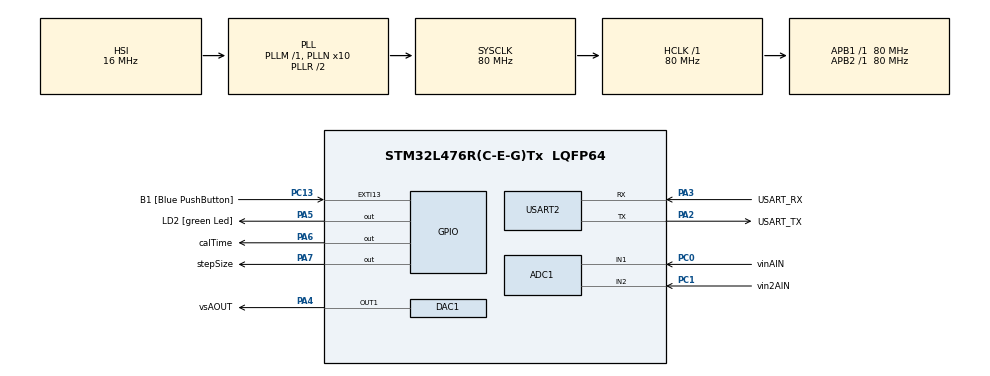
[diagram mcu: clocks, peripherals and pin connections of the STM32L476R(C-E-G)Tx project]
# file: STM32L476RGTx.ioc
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ADC1.Channel-0\#ChannelRegularConversion=ADC_CHANNEL_1
ADC1.NbrOfConversionFlag=1
ADC1.OffsetNumber-0\#ChannelRegularConversion=ADC_OFFSET_NONE
ADC1.Rank-0\#ChannelRegularConversion=1
ADC1.SamplingTime-0\#ChannelRegularConversion=ADC_SAMPLETIME_2CYCLES_5
ADC1.master=1
Mcu.Family=STM32L4
Mcu.Name=STM32L476R(C-E-G)Tx
Mcu.Package=LQFP64
NVIC.EXTI15_10_IRQn=true\:0\:0\:false\:false\:true\:true\:true\:true
NVIC.PriorityGroup=NVIC_PRIORITYGROUP_4
NVIC.TIM1_UP_TIM16_IRQn=true\:0\:0\:false\:false\:true\:true\:true\:true
PA13\ (JTMS-SWDIO).GPIO_Label=TMS
PA13\ (JTMS-SWDIO).Mode=Serial_Wire
PA13\ (JTMS-SWDIO).Signal=SYS_JTMS-SWDIO
PA14\ (JTCK-SWCLK).GPIO_Label=TCK
PA14\ (JTCK-SWCLK).Mode=Serial_Wire
PA14\ (JTCK-SWCLK).Signal=SYS_JTCK-SWCLK
PA2.GPIO_Label=USART_TX
PA2.GPIO_Mode=GPIO_MODE_AF_PP
PA2.GPIO_PuPd=GPIO_NOPULL
PA2.GPIO_Speed=GPIO_SPEED_FREQ_VERY_HIGH
PA2.Mode=Asynchronous
PA2.Signal=USART2_TX
PA3.GPIO_Label=USART_RX
PA3.GPIO_Mode=GPIO_MODE_AF_PP
PA3.GPIO_PuPd=GPIO_NOPULL
PA3.GPIO_Speed=GPIO_SPEED_FREQ_VERY_HIGH
PA3.Mode=Asynchronous
PA3.Signal=USART2_RX
PA4.GPIO_Label=vsAOUT
PA4.Signal=COMP_DAC11_group
PA5.GPIO_Label=LD2 [green Led]
PA5.GPIO_ModeDefaultOutputPP=GPIO_MODE_OUTPUT_PP
PA5.GPIO_PuPd=GPIO_NOPULL
PA5.GPIO_Speed=GPIO_SPEED_FREQ_LOW
PA5.Signal=GPIO_Output
PA6.GPIO_Label=calTime
PA6.Signal=GPIO_Output
PA7.GPIO_Label=stepSize
PA7.Signal=GPIO_Output
PB3\ (JTDO-TRACESWO).GPIO_Label=SWO
PB3\ (JTDO-TRACESWO).Signal=SYS_JTDO-SWO
PC0.GPIO_Label=vinAIN
PC0.Signal=ADCx_IN1
PC1.GPIO_Label=vin2AIN
PC1.Signal=ADCx_IN2
PC13.GPIO_Label=B1 [Blue PushButton]
PC13.GPIO_ModeDefaultEXTI=GPIO_MODE_IT_FALLING
PC13.GPIO_PuPd=GPIO_NOPULL
PC13.Signal=GPXTI13
PC14-OSC32_IN\ (PC14).Mode=LSE-External-Oscillator
PC14-OSC32_IN\ (PC14).Signal=RCC_OSC32_IN
PC15-OSC32_OUT\ (PC15).Mode=LSE-External-Oscillator
PC15-OSC32_OUT\ (PC15).Signal=RCC_OSC32_OUT
PH0-OSC_IN\ (PH0).Signal=RCC_OSC_IN
PH1-OSC_OUT\ (PH1).Signal=RCC_OSC_OUT
ProjectManager.HeapSize=0x200
ProjectManager.StackSize=0x400
ProjectManager.TargetToolchain=STM32CubeIDE
RCC.ADCFreq_Value=64000000
RCC.AHBFreq_Value=80000000
RCC.APB1Freq_Value=80000000
RCC.APB1TimFreq_Value=80000000
RCC.APB2Freq_Value=80000000
RCC.APB2TimFreq_Value=80000000
RCC.CortexFreq_Value=80000000
RCC.HCLKFreq_Value=80000000
RCC.HSE_VALUE=8000000
RCC.HSI_VALUE=16000000
RCC.MSI_VALUE=4000000
RCC.PLLN=10
RCC.PLLSourceVirtual=RCC_PLLSOURCE_HSI
RCC.PREFETCH_ENABLE=1
RCC.SYSCLKFreq_VALUE=80000000
RCC.SYSCLKSource=RCC_SYSCLKSOURCE_PLLCLK
RCC.USBFreq_Value=64000000
RCC.VCOOutputFreq_Value=160000000
SH.ADCx_IN1.0=ADC1_IN1,IN1-Single-Ended
SH.ADCx_IN2.0=ADC1_IN2,IN2-Single-Ended
SH.COMP_DAC11_group.0=DAC1_OUT1,DAC_OUT1
TIM1.CounterMode=TIM_COUNTERMODE_DOWN
TIM1.Period=999
TIM1.Prescaler=79
USART2.VirtualMode-Asynchronous=VM_ASYNC
VP_TIM1_VS_ClockSourceINT.Mode=Internal
board=NUCLEO-L476RG

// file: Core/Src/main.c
/* USER CODE BEGIN Header */
/**
  ******************************************************************************
  * @file           : main.c
  * @brief          : Main program body
  ******************************************************************************
  * @attention
  *
  * Copyright (c) 2026 STMicroelectronics.
  * All rights reserved.
  *
  * This software is licensed under terms that can be found in the LICENSE file
  * in the root directory of this software component.
  * If no LICENSE file comes with this software, it is provided AS-IS.
  *
  ******************************************************************************
  */
/* USER CODE END Header */
#include "main.h"
#include "adc.h"
#include "dac.h"
#include "tim.h"
#include "usart.h"
#include "gpio.h"

/* USER CODE BEGIN Includes */
#include "block.h"
/* USER CODE END Includes */

/* USER CODE BEGIN PV */
static BlockState_H67479d7783111b50ee4f84437c325e160da02330_cb4a8a449b4ada864625ee5a4355578a3aaf08ed pss;
/* USER CODE END PV */

void SystemClock_Config(void);

int main(void)
{

  /* MCU Configuration--------------------------------------------------------*/

  /* Reset of all peripherals, Initializes the Flash interface and the Systick. */
  HAL_Init();

  /* Configure the system clock */
  SystemClock_Config();

  /* Initialize all configured peripherals */
  MX_GPIO_Init();
  MX_USART2_UART_Init();
  MX_ADC1_Init();
  MX_DAC1_Init();
  MX_TIM1_Init();
  /* USER CODE BEGIN 2 */
  Startup_H67479d7783111b50ee4f84437c325e160da02330_cb4a8a449b4ada864625ee5a4355578a3aaf08ed(&pss);
  HAL_DAC_Start(&hdac1, DAC_CHANNEL_1);
  HAL_TIM_Base_Start_IT(&htim1);
  __enable_irq();
  /* USER CODE END 2 */

  /* Infinite loop */
  while (1)
  {

  }
}

void SystemClock_Config(void)
{
  RCC_OscInitTypeDef RCC_OscInitStruct = {0};
  RCC_ClkInitTypeDef RCC_ClkInitStruct = {0};

  /** Configure the main internal regulator output voltage
  */
  if (HAL_PWREx_ControlVoltageScaling(PWR_REGULATOR_VOLTAGE_SCALE1) != HAL_OK)
  {
    Error_Handler();
  }

  /** Initializes the RCC Oscillators according to the specified parameters
  * in the RCC_OscInitTypeDef structure.
  */
  RCC_OscInitStruct.OscillatorType = RCC_OSCILLATORTYPE_HSI;
  RCC_OscInitStruct.HSIState = RCC_HSI_ON;
  RCC_OscInitStruct.HSICalibrationValue = RCC_HSICALIBRATION_DEFAULT;
  RCC_OscInitStruct.PLL.PLLState = RCC_PLL_ON;
  RCC_OscInitStruct.PLL.PLLSource = RCC_PLLSOURCE_HSI;
  RCC_OscInitStruct.PLL.PLLM = 1;
  RCC_OscInitStruct.PLL.PLLN = 10;
  RCC_OscInitStruct.PLL.PLLP = RCC_PLLP_DIV7;
  RCC_OscInitStruct.PLL.PLLQ = RCC_PLLQ_DIV2;
  RCC_OscInitStruct.PLL.PLLR = RCC_PLLR_DIV2;
  if (HAL_RCC_OscConfig(&RCC_OscInitStruct) != HAL_OK)
  {
    Error_Handler();
  }

  /** Initializes the CPU, AHB and APB buses clocks
  */
  RCC_ClkInitStruct.ClockType = RCC_CLOCKTYPE_HCLK|RCC_CLOCKTYPE_SYSCLK
                              |RCC_CLOCKTYPE_PCLK1|RCC_CLOCKTYPE_PCLK2;
  RCC_ClkInitStruct.SYSCLKSource = RCC_SYSCLKSOURCE_PLLCLK;
  RCC_ClkInitStruct.AHBCLKDivider = RCC_SYSCLK_DIV1;
  RCC_ClkInitStruct.APB1CLKDivider = RCC_HCLK_DIV1;
  RCC_ClkInitStruct.APB2CLKDivider = RCC_HCLK_DIV1;

  if (HAL_RCC_ClockConfig(&RCC_ClkInitStruct, FLASH_LATENCY_4) != HAL_OK)
  {
    Error_Handler();
  }
}

/* USER CODE BEGIN 4 */
void HAL_TIM_PeriodElapsedCallback(TIM_HandleTypeDef *htim)
{
  if (htim->Instance == TIM1) {
    typedef SPE_Real_H67479d7783111b50ee4f84437c325e160da02330_cb4a8a449b4ada864625ee5a4355578a3aaf08ed
      PSS_Real;

    const PSS_Real DAC_CHANNEL_1_maxBit = ((PSS_Real) 4095);
	const PSS_Real DAC_CHANNEL_1_maxVoltage = ((PSS_Real) 3.3);
	const PSS_Real magic15 = ((PSS_Real) 1.5);
	const PSS_Real vSI_newWeight = ((PSS_Real) 0.002);
	const PSS_Real vSI_preWeight = ((PSS_Real) 1.0) - vSI_newWeight;
	const PSS_Real vSI_default = ((PSS_Real) 1.0);

    static PSS_Real vSI_pre = vSI_default;

    HAL_GPIO_TogglePin(GPIOC, stepSize_Pin);
    HAL_GPIO_WritePin(GPIOC, calTime_Pin, GPIO_PIN_SET);

    //Input processing (requires to convert AC to volt):
    HAL_ADC_Start(&hadc1);
    HAL_ADC_PollForConversion(&hadc1, 10 /* in ms */);
    pss.vSI =
        (vSI_newWeight * DAC_CHANNEL_1_maxVoltage
          * (((PSS_Real) HAL_ADC_GetValue(&hadc1)) / DAC_CHANNEL_1_maxBit))
      + (vSI_preWeight * vSI_pre);
    vSI_pre = pss.vSI;
    HAL_ADC_Stop(&hadc1);

    // Compute sampling step:
    DoStep_H67479d7783111b50ee4f84437c325e160da02330_cb4a8a449b4ada864625ee5a4355578a3aaf08ed(&pss);

    //Output processing (requires to convert volt to AC):
    HAL_DAC_SetValue(
      &hdac1,
	  DAC_CHANNEL_1,
	  DAC_ALIGN_12B_R,
	  (uint32_t)(
	    (double)(
	      (DAC_CHANNEL_1_maxBit * (pss.vs + magic15)) / DAC_CHANNEL_1_maxVoltage)));

    HAL_GPIO_WritePin(GPIOC, calTime_Pin, GPIO_PIN_RESET);
  }
}
/* USER CODE END 4 */

void Error_Handler(void)
{
  __disable_irq();
  while (1)
  {
  }
}
